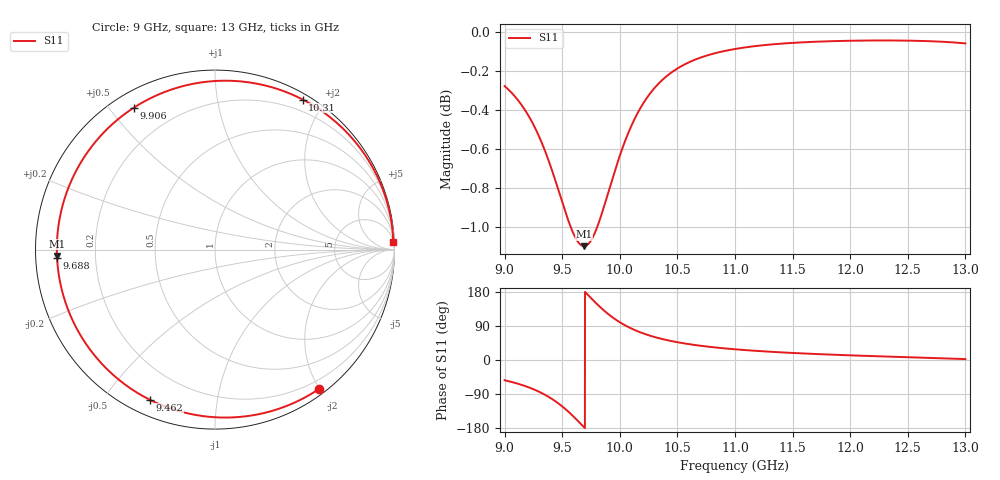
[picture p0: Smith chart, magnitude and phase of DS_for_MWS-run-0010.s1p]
! TOUCHSTONE file generated by CST DESIGN STUDIO
! Date and time: Tue Feb  4 17:15:04 2025
! Project name: C:\Work\MatlabApps\UnitCellOptimizationMatlab\CST\unitcell.cst
! Tree item: Tasks\Sweep1\SPara1\S-Parameters
! Header version: 2024
! Port assignment regex: !\s*Touchstone port\s*([0-9]+)\s*=\s*(CST MWS port|CST DES external port|CST DES block port)\s*(.+)\s* \(\"(.*)\"\)(\s*mode\s*([0-9]+))?.*
! Touchstone port assignment:
! Touchstone port 1 = CST DES external port 1 ("")
# GHz S MA R 50
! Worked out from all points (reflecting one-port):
!   4001 points, 9 GHz to 13 GHz, reference 50 ohm
!   lowest |S11| = -1.1 dB at 9.69 GHz (marker M1), VSWR 15.84, Z = 3.16 - j1.01 ohm
!   phase of S11 starts at -53 deg and turns -304 deg over the sweep
!   S11 on the Smith chart (normalised r, x): 9 GHz: 0.08, -1.98; 9.462 GHz: 0.07, -0.65; 9.688 GHz: 0.06, -0.03; 9.906 GHz: 0.06, +0.58; 10.31 GHz: 0.06, +1.74; 13 GHz: 7, +46
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9  0.9687 -53.4
9.123  0.96 -63.3
9.241  0.948 -76.0
9.365  0.9299 -94.2
9.462  0.912 -113.5
9.5  0.9045 -122.4
9.552  0.8949 -135.9
9.606  0.8867 -151.5
9.648  0.8827 -164.4
9.688  0.8813 -177.0
9.69  0.8813 -177.7
9.735  0.8829 168.0
9.783  0.8881 153.2
9.845  0.8986 135.3
9.906  0.9109 119.7
9.951  0.9202 109.5
10  0.9297 99.6
10.068  0.9413 87.9
10.15  0.9528 76.4
10.228  0.9613 67.6
10.313  0.9684 59.7
10.5  0.9788 46.9
10.719  0.9855 36.9
11  0.9901 28.2
11.5  0.9937 18.6
12  0.995 12.3
12.5  0.995 7.3
13  0.9934 2.4
